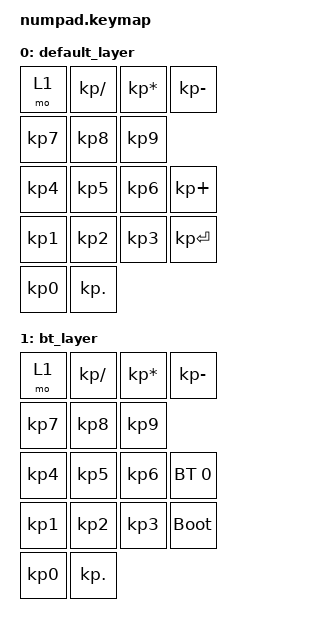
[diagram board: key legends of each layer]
// Keymap
//
// Created: 2025 Sept 13
// Edited: 2025-Sep-13 14:30


#include <behaviors.dtsi>
#include <dt-bindings/zmk/keys.h>
#include <dt-bindings/zmk/bt.h>

/{
    keymap {
        compatible = "zmk,keymap";

        default_layer {
            bindings = <
                &mo 1     &kp KP_SLASH    &kp KP_ASTERISK &kp KP_MINUS
                &kp KP_N7 &kp KP_N8   &kp KP_N9    
                &kp KP_N4 &kp KP_N5   &kp KP_N6    &kp KP_PLUS 
                &kp KP_N1 &kp KP_N2   &kp KP_N3    &kp KP_ENTER 
                &kp KP_N0 &kp KP_DOT
             >;
        };
        bt_layer {
              bindings = <
                  &mo 1     &kp KP_SLASH    &kp KP_ASTERISK &kp KP_MINUS
                  &kp KP_N7 &kp KP_N8   &kp KP_N9    
                  &kp KP_N4 &kp KP_N5   &kp KP_N6    &bt BT_SEL 0
                  &kp KP_N1 &kp KP_N2   &kp KP_N3    &bootloader
                  &kp KP_N0 &kp KP_DOT
              >;
        };
    };
};
